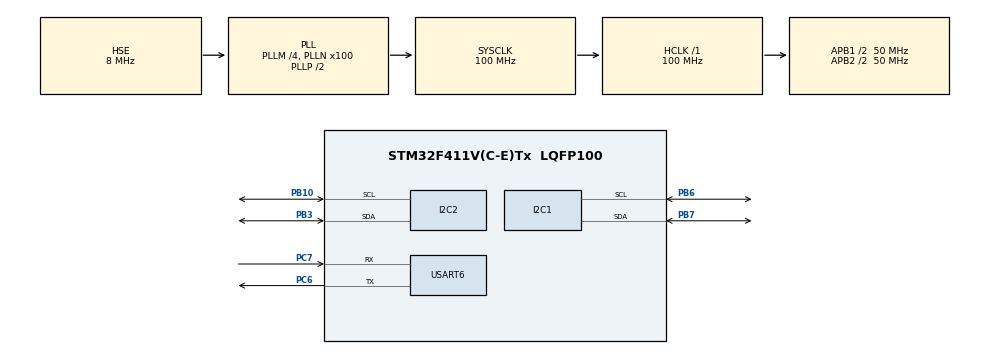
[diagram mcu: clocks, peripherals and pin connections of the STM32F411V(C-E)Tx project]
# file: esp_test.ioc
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Mcu.Family=STM32F4
Mcu.Name=STM32F411V(C-E)Tx
Mcu.Package=LQFP100
NVIC.PriorityGroup=NVIC_PRIORITYGROUP_0
NVIC.USART6_IRQn=true\:0\:0\:false\:false\:true\:true\:true\:true
PB10.Mode=I2C
PB10.Signal=I2C2_SCL
PB3.Mode=I2C
PB3.Signal=I2C2_SDA
PB6.Mode=I2C
PB6.Signal=I2C1_SCL
PB7.Mode=I2C
PB7.Signal=I2C1_SDA
PC6.Mode=Asynchronous
PC6.Signal=USART6_TX
PC7.Mode=Asynchronous
PC7.Signal=USART6_RX
PH0\ -\ OSC_IN.Mode=HSE-External-Oscillator
PH0\ -\ OSC_IN.Signal=RCC_OSC_IN
PH1\ -\ OSC_OUT.Mode=HSE-External-Oscillator
PH1\ -\ OSC_OUT.Signal=RCC_OSC_OUT
ProjectManager.HeapSize=0x200
ProjectManager.StackSize=0x400
ProjectManager.TargetToolchain=STM32CubeIDE
RCC.48MHZClocksFreq_Value=25000000
RCC.AHBFreq_Value=100000000
RCC.APB1CLKDivider=RCC_HCLK_DIV2
RCC.APB1Freq_Value=50000000
RCC.APB1TimFreq_Value=100000000
RCC.APB2CLKDivider=RCC_HCLK_DIV2
RCC.APB2Freq_Value=50000000
RCC.APB2TimFreq_Value=100000000
RCC.CortexFreq_Value=100000000
RCC.HCLKFreq_Value=100000000
RCC.HSE_VALUE=8000000
RCC.HSI_VALUE=16000000
RCC.LSE_VALUE=32768
RCC.PLLI2SM=5
RCC.PLLI2SN=200
RCC.PLLM=4
RCC.PLLN=100
RCC.PLLQ=8
RCC.PLLSourceVirtual=RCC_PLLSOURCE_HSE
RCC.SYSCLKFreq_VALUE=100000000
RCC.SYSCLKSource=RCC_SYSCLKSOURCE_PLLCLK
RCC.VCOOutputFreq_Value=200000000
USART6.VirtualMode=VM_ASYNC
board=STM32F411E-DISCO

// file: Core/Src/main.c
/* USER CODE BEGIN Header */
/**
  ******************************************************************************
  * @file           : main.c
  * @brief          : Main program body
  ******************************************************************************
  * @attention
  *
  * <h2><center>&copy; Copyright (c) 2020 STMicroelectronics.
  * All rights reserved.</center></h2>
  *
  * This software component is licensed by ST under BSD 3-Clause license,
  * the "License"; You may not use this file except in compliance with the
  * License. You may obtain a copy of the License at:
  *                        opensource.org/licenses/BSD-3-Clause
  *
  ******************************************************************************
  */
/* USER CODE END Header */
#include "main.h"

/* USER CODE BEGIN Includes */
#include <stdio.h>
#include <stdbool.h>

#include "ESP_DATA_HANDLER.h"
#include "sht85.h"
#include "veml7700.h"
#include "wifi_thingspeak.h"
/* USER CODE END Includes */

/* USER CODE BEGIN PD */
#define MEASUREMENT_INTERVAL 1000 // 0.2 segundos. Frecuencia para tomar mediciones con los sensores
#define THINGSPEAK_API_KEY "6K0OKMK195CFJ8SQ"
#define SEND_THINGSPEAK_INTERVAL 20000 // 20 segundos. Linea 184 de system_stm32f4xx.c modificada manualmente
/* USER CODE END PD */

I2C_HandleTypeDef hi2c1;
I2C_HandleTypeDef hi2c2;

UART_HandleTypeDef huart6;

/* USER CODE BEGIN PV */
// ----------------- SENSORS -----------------
float temperature = 0.0f;
float averageTemperature = 0.0f;
float humidity = 0.0f;
float averageHumidity = 0.0f;
float luminosity = 0.0f;
float averageLuminosity = 0.0f;

uint8_t countAverage = 0;
// ----------------- TIME MEASUREMENT -----------------
volatile uint32_t lastTimeMeasurement = 0;
volatile uint32_t lastThingSpeakSend = 0;

/* USER CODE END PV */

void SystemClock_Config(void);
static void MX_GPIO_Init(void);
static void MX_USART6_UART_Init(void);
static void MX_I2C1_Init(void);
static void MX_I2C2_Init(void);

int main(void)
{

  /* USER CODE BEGIN 1 */
	lastTimeMeasurement = HAL_GetTick();
	lastThingSpeakSend = HAL_GetTick();
  /* USER CODE END 1 */

  /* MCU Configuration--------------------------------------------------------*/

  /* Reset of all peripherals, Initializes the Flash interface and the Systick. */
  HAL_Init();

  /* Configure the system clock */
  SystemClock_Config();

  /* Initialize all configured peripherals */
  MX_GPIO_Init();
  MX_USART6_UART_Init();
  MX_I2C1_Init();
  MX_I2C2_Init();
  /* USER CODE BEGIN 2 */

  // ----------------- ESP8266 WIFI -----------------
  char text[4] = "AT\r\n";
  char textrc[15] = "";

  HAL_UART_Transmit(&huart6, (uint8_t *) text, 4, HAL_MAX_DELAY);
  HAL_UART_Receive(&huart6, (uint8_t *) textrc, 15, 100);

  HAL_UART_Transmit(&huart6, (uint8_t *) text, 4, HAL_MAX_DELAY);
  HAL_UART_Receive(&huart6, (uint8_t *) textrc, 15, 100);

  HAL_UART_Transmit(&huart6, (uint8_t *) text, 4, HAL_MAX_DELAY);
  HAL_UART_Receive(&huart6, (uint8_t *) textrc, 15, 100);

  ESP_Init("MOVISTAR_1DD2", "55253A2D16DDBF32D47B", "192.168.1.82");

  // ----------------- SENSORS -----------------
  SHT85_Init();
  HAL_Delay(500);
  VEML7700_Init();
  /* USER CODE END 2 */

  /* Infinite loop */
  /* USER CODE BEGIN WHILE */
  while (1)
  {
	  uint32_t currentTick = HAL_GetTick();

	  // ----------------- SENSORS -----------------
	  if (currentTick - lastTimeMeasurement >= MEASUREMENT_INTERVAL) {
		  lastTimeMeasurement += MEASUREMENT_INTERVAL; // Incrementar en lugar de reiniciar
		  SHT85_ReadSingleShot(&temperature, &humidity);
		  SHT85_ErrorReset(&temperature, &humidity);
		  averageTemperature += temperature;
		  averageHumidity += humidity;

		  ReadVEML7700(&luminosity);
		  averageLuminosity += luminosity;
		  countAverage++;
	  }

	  // ----------------- THINGSPEAK -----------------
	  if (currentTick - lastThingSpeakSend >= SEND_THINGSPEAK_INTERVAL) {
		  lastThingSpeakSend += SEND_THINGSPEAK_INTERVAL ; // es recomendable utilizar el método de acumulación para evitar deriva en el tiempo
		  if(countAverage == 0) {
			  averageTemperature = temperature;
			  averageHumidity = humidity;
			  averageLuminosity = luminosity;
		  } else {
			  averageTemperature = averageTemperature/countAverage;
			  averageHumidity = averageHumidity/countAverage;
			  averageLuminosity = averageLuminosity/countAverage;
		  }

		  sendDataToThingSpeak(THINGSPEAK_API_KEY, temperature, humidity, luminosity);

		  averageTemperature = 0.0f;
		  averageHumidity = 0.0f;
		  averageLuminosity = 0.0f;
		  countAverage = 0;
	  }
	  processThingSpeakStateMachine(); // Procesar la máquina de estados de ThingSpeak

    /* USER CODE END WHILE */

    /* USER CODE BEGIN 3 */
//	  Server_Start();
  }
  /* USER CODE END 3 */
}

void SystemClock_Config(void)
{
  RCC_OscInitTypeDef RCC_OscInitStruct = {0};
  RCC_ClkInitTypeDef RCC_ClkInitStruct = {0};

  /** Configure the main internal regulator output voltage
  */
  __HAL_RCC_PWR_CLK_ENABLE();
  __HAL_PWR_VOLTAGESCALING_CONFIG(PWR_REGULATOR_VOLTAGE_SCALE1);

  /** Initializes the RCC Oscillators according to the specified parameters
  * in the RCC_OscInitTypeDef structure.
  */
  RCC_OscInitStruct.OscillatorType = RCC_OSCILLATORTYPE_HSE;
  RCC_OscInitStruct.HSEState = RCC_HSE_ON;
  RCC_OscInitStruct.PLL.PLLState = RCC_PLL_ON;
  RCC_OscInitStruct.PLL.PLLSource = RCC_PLLSOURCE_HSE;
  RCC_OscInitStruct.PLL.PLLM = 4;
  RCC_OscInitStruct.PLL.PLLN = 100;
  RCC_OscInitStruct.PLL.PLLP = RCC_PLLP_DIV2;
  RCC_OscInitStruct.PLL.PLLQ = 8;
  if (HAL_RCC_OscConfig(&RCC_OscInitStruct) != HAL_OK)
  {
    Error_Handler();
  }

  /** Initializes the CPU, AHB and APB buses clocks
  */
  RCC_ClkInitStruct.ClockType = RCC_CLOCKTYPE_HCLK|RCC_CLOCKTYPE_SYSCLK
                              |RCC_CLOCKTYPE_PCLK1|RCC_CLOCKTYPE_PCLK2;
  RCC_ClkInitStruct.SYSCLKSource = RCC_SYSCLKSOURCE_PLLCLK;
  RCC_ClkInitStruct.AHBCLKDivider = RCC_SYSCLK_DIV1;
  RCC_ClkInitStruct.APB1CLKDivider = RCC_HCLK_DIV2;
  RCC_ClkInitStruct.APB2CLKDivider = RCC_HCLK_DIV2;

  if (HAL_RCC_ClockConfig(&RCC_ClkInitStruct, FLASH_LATENCY_3) != HAL_OK)
  {
    Error_Handler();
  }
}

static void MX_I2C1_Init(void)
{

  hi2c1.Instance = I2C1;
  hi2c1.Init.ClockSpeed = 100000;
  hi2c1.Init.DutyCycle = I2C_DUTYCYCLE_2;
  hi2c1.Init.OwnAddress1 = 0;
  hi2c1.Init.AddressingMode = I2C_ADDRESSINGMODE_7BIT;
  hi2c1.Init.DualAddressMode = I2C_DUALADDRESS_DISABLE;
  hi2c1.Init.OwnAddress2 = 0;
  hi2c1.Init.GeneralCallMode = I2C_GENERALCALL_DISABLE;
  hi2c1.Init.NoStretchMode = I2C_NOSTRETCH_DISABLE;
  if (HAL_I2C_Init(&hi2c1) != HAL_OK)
  {
    Error_Handler();
  }

}

static void MX_I2C2_Init(void)
{

  hi2c2.Instance = I2C2;
  hi2c2.Init.ClockSpeed = 100000;
  hi2c2.Init.DutyCycle = I2C_DUTYCYCLE_2;
  hi2c2.Init.OwnAddress1 = 0;
  hi2c2.Init.AddressingMode = I2C_ADDRESSINGMODE_7BIT;
  hi2c2.Init.DualAddressMode = I2C_DUALADDRESS_DISABLE;
  hi2c2.Init.OwnAddress2 = 0;
  hi2c2.Init.GeneralCallMode = I2C_GENERALCALL_DISABLE;
  hi2c2.Init.NoStretchMode = I2C_NOSTRETCH_DISABLE;
  if (HAL_I2C_Init(&hi2c2) != HAL_OK)
  {
    Error_Handler();
  }

}

static void MX_USART6_UART_Init(void)
{

  huart6.Instance = USART6;
  huart6.Init.BaudRate = 115200;
  huart6.Init.WordLength = UART_WORDLENGTH_8B;
  huart6.Init.StopBits = UART_STOPBITS_1;
  huart6.Init.Parity = UART_PARITY_NONE;
  huart6.Init.Mode = UART_MODE_TX_RX;
  huart6.Init.HwFlowCtl = UART_HWCONTROL_NONE;
  huart6.Init.OverSampling = UART_OVERSAMPLING_16;
  if (HAL_UART_Init(&huart6) != HAL_OK)
  {
    Error_Handler();
  }

}

static void MX_GPIO_Init(void)
{

  /* GPIO Ports Clock Enable */
  __HAL_RCC_GPIOH_CLK_ENABLE();
  __HAL_RCC_GPIOB_CLK_ENABLE();
  __HAL_RCC_GPIOC_CLK_ENABLE();

}

void Error_Handler(void)
{
}
